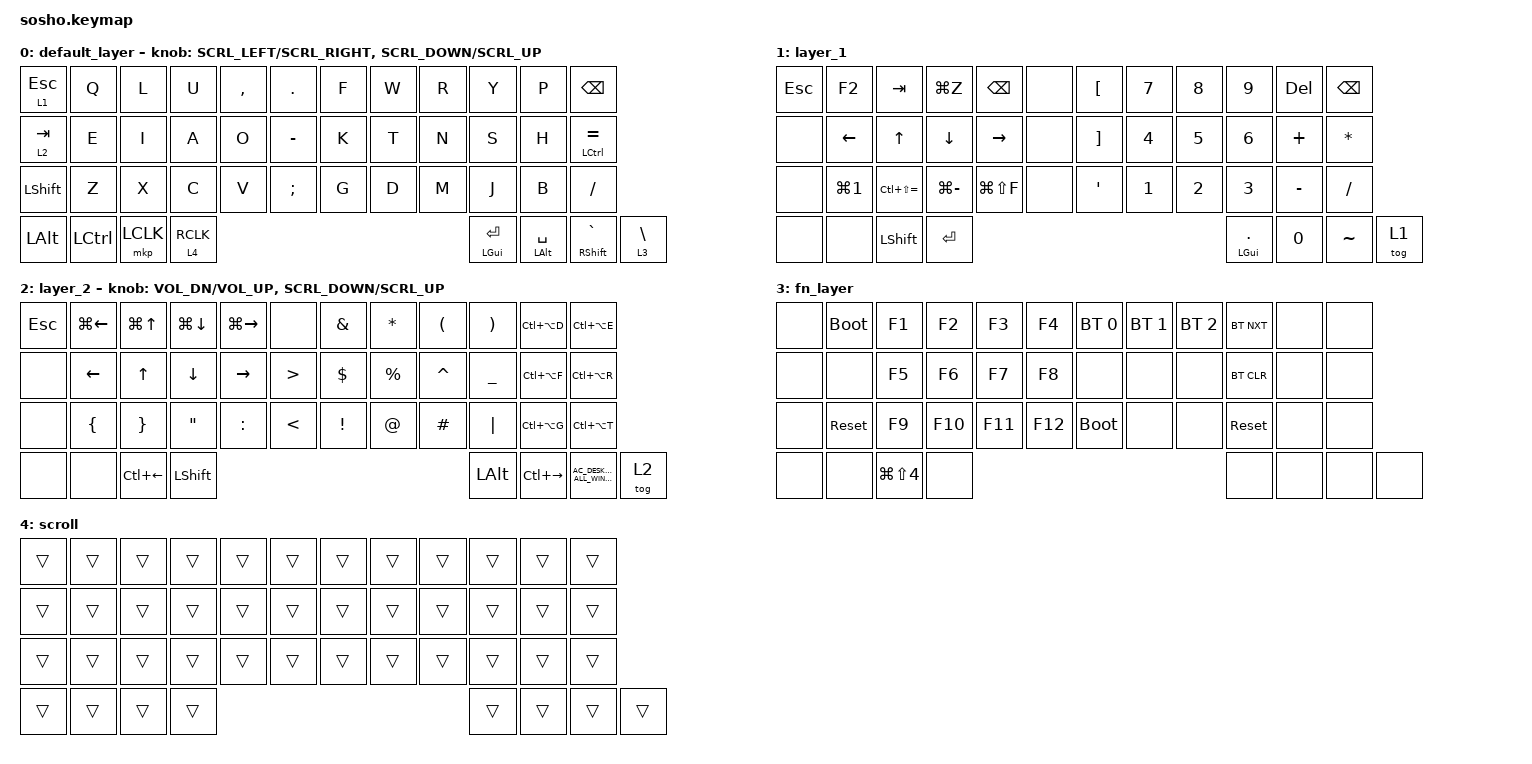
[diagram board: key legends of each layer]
//スクロール量の調整(デフォルト150)
#define ZMK_POINTING_DEFAULT_SCRL_VAL 150

#include <behaviors.dtsi>
#include <dt-bindings/zmk/bt.h>
#include <dt-bindings/zmk/keys.h>
#include <dt-bindings/zmk/pointing.h>
#include <dt-bindings/zmk/outputs.h>

/ {
	behaviors {
        ec_ms_l: ec_ms_h {
            compatible = "zmk,behavior-encoder-mouse-scroll";
            #sensor-binding-cells = <2>;
        };
        ec_ms_r: ec_ms_v {
            compatible = "zmk,behavior-encoder-mouse-scroll";
            #sensor-binding-cells = <2>;
        };
    };
};

/ {
    behaviors {
        mtq: mtq {
            compatible = "zmk,behavior-hold-tap";
            #binding-cells = <2>;
            flavor = "balanced";
            tapping-term-ms = <200>;
            quick-tap-ms = <200>;
            bindings = <&kp>, <&kp>;
        };

        mt_spc: mt_spc {
            compatible = "zmk,behavior-hold-tap";
            #binding-cells = <2>;
            flavor = "tap-preferred";
            tapping-term-ms = <200>;
            quick-tap-ms = <200>;
            require-prior-idle-ms = <150>;
            bindings = <&kp>, <&kp>;
        };

        mt_num: mt_num {
            compatible = "zmk,behavior-hold-tap";
            #binding-cells = <2>;
            flavor = "tap-preferred";
            tapping-term-ms = <200>;
            quick-tap-ms = <200>;
            bindings = <&kp>, <&kp>;
        };

        lt_mkp: lt_mkp {
            compatible = "zmk,behavior-hold-tap";
            #binding-cells = <2>;
            flavor = "balanced";
            tapping-term-ms = <150>;
            bindings = <&mo>, <&mkp>;
        };
    };
};

//スクロールの調整
&msc {
    time-to-max-speed-ms = <0>;   // 即座に最大速度（加速なし）
    acceleration-exponent = <0>;   // 加速なし
};

&mt {
    require-prior-idle-ms = <150>;
};

/{
keymap {
    compatible = "zmk,keymap";

    default_layer {
        bindings = <
            &lt 1 ESC  &kp Q   &kp L  &kp U     &kp COMMA &kp DOT    &kp F      &kp W      &kp R      &kp Y    &kp P     &kp BSPC
            &lt 2 TAB  &kp E   &kp I  &kp A     &kp O     &kp MINUS  &kp K      &kp T      &kp N      &kp S    &kp H     &mt LCTRL EQUAL
            &kp LSHFT  &kp Z   &kp X  &kp C     &kp V     &kp SEMI   &kp G      &kp D      &kp M      &kp J    &kp B     &kp SLASH
            &kp LALT           &kp LCTRL  &mkp LCLK       &lt_mkp 4 RCLK      &mtq LGUI ENTER  &mt_spc LALT SPACE  &mtq RSHFT GRAVE  &lt 3 BSLH
        >;
		//&ec_ms_lとrは、上のビヘイビアで作ったもの。
        sensor-bindings = <&ec_ms_l SCRL_LEFT SCRL_RIGHT &ec_ms_r SCRL_DOWN SCRL_UP>;
    };
	
    layer_1 {
        bindings = <
            &kp ESC  &kp F2      &kp TAB            &kp LG(Z)      &kp BSPC       &none  &kp LBKT &kp N7  &kp N8  &kp N9  &kp DEL    &kp BSPC
            &none    &kp LEFT    &kp UP             &kp DOWN       &kp RIGHT      &none  &kp RBKT &kp N4  &kp N5  &kp N6  &kp PLUS   &kp ASTRK
            &none    &kp LG(N1)  &kp LC(LS(EQUAL))  &kp LG(MINUS)  &kp LG(LS(F))  &none  &kp SQT  &kp N1  &kp N2  &kp N3  &kp MINUS  &kp SLASH
            &none  &none                                 &kp LSHFT      &kp ENTER        &mt_num LGUI DOT  &kp N0       &kp TILDE  &tog 1
        >;
    };

    layer_2 {
        bindings = <
            &kp ESC  &kp LG(LEFT)  &kp LG(UP)  &kp LG(DOWN)  &kp LG(RIGHT)  &none             &kp AMPS  &kp ASTRK  &kp LPAR   &kp RPAR   &kp LC(LA(D))  &kp LC(LA(E))
            &none    &kp LEFT      &kp UP      &kp DOWN      &kp RIGHT      &kp GREATER_THAN  &kp DLLR  &kp PRCNT  &kp CARET  &kp UNDER  &kp LC(LA(F))  &kp LC(LA(R))
            &none    &kp LBRC      &kp RBRC    &kp DQT       &kp COLON      &kp LESS_THAN     &kp EXCL  &kp AT     &kp HASH   &kp PIPE   &kp LC(LA(G))  &kp LC(LA(T))
            &none  &none                &kp LC(LEFT)  &kp LSHFT   &kp LALT          &kp LC(RIGHT)                              &kp C_AC_DESKTOP_SHOW_ALL_WINDOWS  &tog 2
        >;
		//レイヤー2のときだけ、左手のエンコーダを回すとボリュームの上下ができるようになっています。
		sensor-bindings = <&inc_dec_kp C_VOL_DN C_VOL_UP &ec_ms_r SCRL_DOWN SCRL_UP>;

    };

    fn_layer {
        bindings = <
            &none  &bootloader  &kp F1  &kp F2   &kp F3   &kp F4   &bt BT_SEL 0  &bt BT_SEL 1  &bt BT_SEL 2  &bt BT_NXT  &none  &none
            &none  &none  &kp F5  &kp F6   &kp F7   &kp F8   &none         &none         &none         &bt BT_CLR  &none  &none
            &none  &sys_reset  &kp F9  &kp F10  &kp F11  &kp F12  &bootloader   &none         &none         &sys_reset  &none  &none
            &none  &none                   &kp LG(LS(N4))  &none  &none    &none                                   &none  &none
        >;
    };

    scroll {
        bindings = <
            &trans  &trans  &trans  &trans  &trans  &trans      &trans  &trans  &trans  &trans  &trans  &trans
            &trans  &trans  &trans  &trans  &trans  &trans      &trans  &trans  &trans  &trans  &trans  &trans
            &trans  &trans  &trans  &trans  &trans  &trans      &trans  &trans  &trans  &trans  &trans  &trans
            &trans  &trans                  &trans  &trans      &trans  &trans                  &trans  &trans
        >;
    };

    extra2 {
        status = "reserved";
    };
};
};
